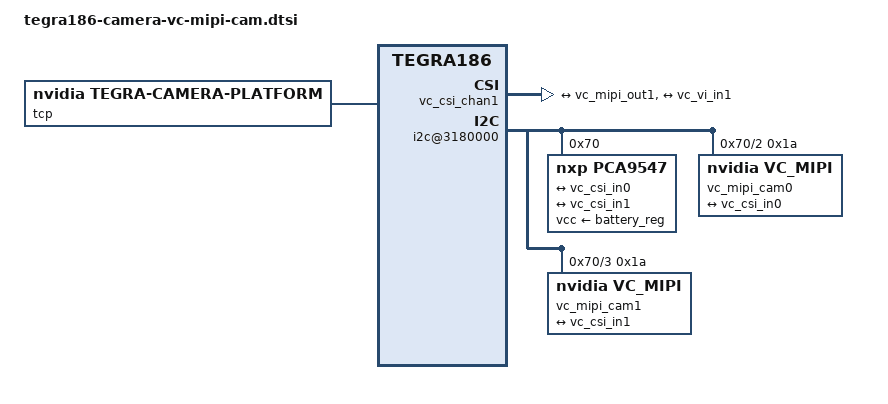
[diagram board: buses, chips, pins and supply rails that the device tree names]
/*
 * Copyright (c) 2020-2021, Vision Components GmbH.  All rights reserved.
 *
 * This program is free software; you can redistribute it and/or modify
 * it under the terms of the GNU General Public License as published by
 * the Free Software Foundation; either version 2 of the License, or
 * (at your option) any later version.
 *
 * This program is distributed in the hope that it will be useful, but WITHOUT
 * ANY WARRANTY; without even the implied warranty of MERCHANTABILITY or
 * FITNESS FOR A PARTICULAR PURPOSE.  See the GNU General Public License for
 * more details.
 *
 * You should have received a copy of the GNU General Public License
 * along with this program.  If not, see <http://www.gnu.org/licenses/>.
 */

#include "dt-bindings/clock/tegra186-clock.h"
#define CAMERA_I2C_MUX_BUS(x) (0x1E + x)

// ------------------------------------------------------------------------------------------------
//  Driver Configuration for NVIDIA Jetson TX2NX  on Capable Robots Baseboard 
// ------------------------------------------------------------------------------------------------
#define VC_MIPI_CAM_2       1   // 1: Enabled, 0: Disabled  (serial_c => CSI Port 2 => VI Stream 2)
#define VC_MIPI_CAM_3       1   // 1: Enabled, 0: Disabled  (serial_e => CSI Port 4 => VI Stream 4)
// ------------------------------------------------------------------------------------------------
//  Supported number of lanes
// -----+------------------------------------------------------------------------------------------
//  1   | OV7251, IMX296, IMX297
//  2   | OV9281, IMX264, IMX265
//  2,4 | IMX178, IMX183, IMX226, IMX250, IMX252, IMX273, IMX290, IMX327, IMX335, IMX392, 
//      | IMX412, IMX415, IMX568
// -----+------------------------------------------------------------------------------------------
#define VC_MIPI_LANES       4   // 1, 2, 4 Lanes
// ------------------------------------------------------------------------------------------------
//  Embedded Metadata Height
// -----+------------------------------------------------------------------------------------------
//  0   | IMX178, IMX183, IMX226, IMX250, IMX252, IMX264, IMX265, IMX273, IMX392, OV7251, OV9281
//  1   | IMX290, IMX327, IMX335, IMX415, IMX568
//  2   | IMX296, IMX297, IMX412
// -----+------------------------------------------------------------------------------------------
#define VC_MIPI_METADATA_H  "2" // "0", "1", "2" Lines of meta data
// ------------------------------------------------------------------------------------------------
//   Sensor Manufacturer
// -----+------------------------------------------------------------------------------------------
//   1  | Sony Sensor (IMX)
//   2  | Omni Vision Sensor (OV)
// -----+------------------------------------------------------------------------------------------
//#define VC_MIPI_MANUFACTURER 1 removed always sony
// ------------------------------------------------------------------------------------------------
//  GStreamer Support
// ------------------------------------------------------------------------------------------------
//  If you want to use GStreamer with nvarguscamerasrc you have to adjust this settings in the 
//  device tree below. The sections which have to be modified are marked by a comment. 
//  To find the correct parameter values please follow the instruction in the main README.md of 
//  this repository https://github.com/VC-MIPI-modules/vc_mipi_nvidia#gstreamer-support
// ------------------------------------------------------------------------------------------------

#if VC_MIPI_LANES == 1
    #define BUS_WIDTH 1
    #define NUM_LANES "1" 
    #define NUM_CSI_LANES 2
#endif
#if VC_MIPI_LANES == 2
    #define BUS_WIDTH 2
    #define NUM_LANES "2" 
    #define NUM_CSI_LANES 4
#endif
#if VC_MIPI_LANES == 4
    #define BUS_WIDTH 4
    #define NUM_LANES "4" 
    #define NUM_CSI_LANES 8
#endif

#if VC_MIPI_CAM_2 == 1 && VC_MIPI_CAM_3 == 1
    #define VC_MIPI_CAMERAS 2
#else
    #define VC_MIPI_CAMERAS 1
#endif

/ {
	host1x {
		sb3d_version = "1.3";
        vc_vi_base: vi@15700000 {
			num-channels = <VC_MIPI_CAMERAS>;
            ports {
                #address-cells = <1>;
                #size-cells = <0>;
                vc_vi_port0: port@0 {
                    reg = <0>;
                    vc_vi_in0: endpoint {
						port-index = <0>;
                        bus-width = <BUS_WIDTH>;
                        remote-endpoint = <&vc_csi_out0>;
                    };
                };
                vc_vi_port1: port@1 {
                    reg = <1>;
                    vc_vi_in1: endpoint {
                        port-index = <4>;
                        bus-width = <BUS_WIDTH>;
                        remote-endpoint = <&vc_csi_out1>;
					};
				};
            };
        };

        vc_csi_base: nvcsi@150c0000 {
            num-channels = <VC_MIPI_CAMERAS>;
            #address-cells = <1>;
            #size-cells = <0>;

            vc_csi_chan0: channel@0 {
                reg = <0>;
                ports {
					status = "okay";
                    #address-cells = <1>;
                    #size-cells = <0>;
                    vc_csi_chan0_port0: port@0 {
						reg = <0>;
                        vc_csi_in0: endpoint@0 {
							port-index = <0>;
                            bus-width = <BUS_WIDTH>;
                            remote-endpoint = <&vc_mipi_out0>;
                        };
                    };

					vc_csi_chan0_port1: port@1 {
						reg = <1>;
                        vc_csi_out0: endpoint@1 {
                            remote-endpoint = <&vc_vi_in0>;
                        };
                    };
                };
            };

            vc_csi_chan1: channel@1 {
				status = "okay";
                reg = <1>;
                ports {
                    status = "okay";
                    #address-cells = <1>;
                    #size-cells = <0>;
					vc_csi_chan1_port2: port@2 {
                        status = "okay";
                        reg = <0>;
                        vc_csi_in1: endpoint@2 {
							port-index = <4>;
                            bus-width = <BUS_WIDTH>;
                            remote-endpoint = <&vc_mipi_out1>;
                        };
                    };
					vc_csi_chan1_port3: port@3 {
                        reg = <1>;
						vc_csi_out1: endpoint@1 {
                            remote-endpoint = <&vc_vi_in1>;
                        };
                    };
                };
            };
		};
	};


    i2c@3180000 {
		pca9547@70 {
			compatible = "nxp,pca9547"; // unit 1 change to pca9548
			status = "okay";
			reg = <0x70>;
			#address-cells = <1>;
			#size-cells = <0>;
			vcc-supply = <&battery_reg>;
			force_bus_start = <CAMERA_I2C_MUX_BUS(0)>;
			i2c@2{
				status = "okay";
				reg = <2>;
				i2c-mux,deselect-on-exit;
				#address-cells = <1>;
				#size-cells = <0>;

				vc_mipi_cam0: vc_mipi@1a {
                	status = "okay";
					reg                     = <0x1a>;
					compatible              = "nvidia,vc_mipi";

					devnode                 = "video0";
					use_sensor_mode_id      = "false";
					sensor_model            = "vc_mipi";

					num_lanes               = NUM_LANES;
					trigger_mode            = "0";
					io_mode                 = "0";

					// ----------------------------------------------------
					// If you want to use GStreamer with nvarguscamerasrc
					// you have to adjust this settings
					physical_w = "6.249";
					physical_h = "4.712";
					// ----------------------------------------------------

					// This node is needed by the Tegra framework.
					// You don't have to change any settings if just want to use the V4L API.
					mode0 {
						num_lanes                = NUM_LANES;
						tegra_sinterface         = "serial_a";
						embedded_metadata_height = VC_MIPI_METADATA_H;
						readout_orientation      = "0";

						// ----------------------------------------------------
						// If you want to use GStreamer with nvarguscamerasrc
						// you have to adjust this settings.
						active_l                 = "0";
						active_t                 = "0";
						active_w                 = "4032";
						active_h                 = "3040";
						pixel_t                  = "bayer_rggb";

                    	min_gain_val             = "0";         // mdB
						max_gain_val             = "48000";     // mdB
						step_gain_val            = "100";       // mdB
                    	default_gain             = "0";         // mdB

						min_exp_time             = "1";         // us
						max_exp_time             = "1000000";   // us
						step_exp_time            = "1";         // us
						default_exp_time         = "10000";     // us

                    	min_framerate            = "0";         // mHz
						max_framerate            = "60000";     // mHz
						step_framerate           = "100";       // mHz
						default_framerate        = "60000";     // mHz
						// ----------------------------------------------------

						gain_factor              = "1000";
						exposure_factor          = "1000000";
						framerate_factor         = "1000";
						inherent_gain            = "1";
						min_hdr_ratio            = "1";
						max_hdr_ratio            = "1";

						line_length              = "4184";
						phy_mode                 = "DPHY";
						discontinuous_clk        = "no";
						mclk_khz                 = "24000";
						pix_clk_hz               = "800000000";
						mclk_multiplier          = "9.33";
						cil_settletime           = "0";
						dpcm_enable              = "false";
					};

					ports {
						#address-cells = <1>;
						#size-cells = <0>;

						port@0 {
							reg = <0>;
							vc_mipi_out0: endpoint {
								port-index = <0>;
								bus-width = <BUS_WIDTH>;
								remote-endpoint = <&vc_csi_in0>;
							};
						};
					};
				};
			};
			i2c@3{
				status = "okay";
				reg = <3>;
				i2c-mux,deselect-on-exit;
				#address-cells = <1>;
				#size-cells = <0>;

				vc_mipi_cam1: vc_mipi@1a {
               		status = "okay";
					reg = <0x1a>;
					i2c-mux,deselect-on-exit;
					compatible              = "nvidia,vc_mipi";
					devnode                 = "video1";
					use_sensor_mode_id      = "false";
					sensor_model            = "vc_mipi";

					num_lanes               = NUM_LANES;
					trigger_mode            = "0";
					io_mode                 = "0";

					// ----------------------------------------------------
					// If you want to use GStreamer with nvarguscamerasrc
					// you have to adjust this settings
					physical_w = "6.249";
					physical_h = "4.712";
					// ----------------------------------------------------

					// This node is needed by the Tegra framework.
					// You don't have to change any settings if just want to use the V4L API.
					mode0 {
						num_lanes                = NUM_LANES;
						tegra_sinterface         = "serial_c";
						embedded_metadata_height = VC_MIPI_METADATA_H;
						readout_orientation      = "0";

						// ----------------------------------------------------
						// If you want to use GStreamer with nvarguscamerasrc
						// you have to adjust this settings.
						active_l                 = "0";
						active_t                 = "0";
						active_w                 = "4032";
						active_h                 = "3040";
						pixel_t                  = "bayer_rggb";

						min_gain_val             = "100";         // mdB
						max_gain_val             = "48000";     // mdB
						step_gain_val            = "100";       // mdB
						default_gain             = "100";         // mdB

						min_exp_time             = "1";         // us
						max_exp_time             = "1000000";   // us
						step_exp_time            = "1";         // us
						default_exp_time         = "10000";     // us

						min_framerate            = "100";         // mHz
						max_framerate            = "60000";     // mHz
						step_framerate           = "100";       // mHz
						default_framerate        = "60000";     // mHz
						// ----------------------------------------------------

						gain_factor              = "1000";
						exposure_factor          = "1000000";
						framerate_factor         = "1000";
						inherent_gain            = "1";
						min_hdr_ratio            = "1";
						max_hdr_ratio            = "1";

						line_length              = "0";
						phy_mode                 = "DPHY";
						discontinuous_clk        = "no";
						mclk_khz                 = "24000";
						pix_clk_hz               = "800000000";
						mclk_multiplier          = "9.33";
						cil_settletime           = "0";
						dpcm_enable              = "false";
					};

					ports {

						#address-cells = <1>;
						#size-cells = <0>;
						port@0 {
							status = "okay";
							reg = <0>;

							vc_mipi_out1: endpoint {
								port-index = <0>;
								bus-width = <BUS_WIDTH>;
								remote-endpoint = <&vc_csi_in1>;
							};
						};
					};
				};
			};
		};
	};
};

/ {
    tcp: tegra-camera-platform {
        compatible = "nvidia, tegra-camera-platform";

        num_csi_lanes = <NUM_CSI_LANES>;
        max_lane_speed = <1500000>;
        min_bits_per_pixel = <10>;
        vi_peak_byte_per_pixel = <2>;
        vi_bw_margin_pct = <25>;
        max_pixel_rate = <240000>;
        isp_peak_byte_per_pixel = <5>;
        isp_bw_margin_pct = <25>;

        modules {
            cam_module0: module0 {
                status = "okay";
				badge = "lenai_front_vc_mipi";
                position = "front";
                orientation = "0";
                cam_module0_drivernode0: drivernode0 {
                    status = "okay";
                    pcl_id = "v4l2_sensor";
					devname = "vc_mipi 32-001a";
					proc-device-tree = "/proc/device-tree/i2c@3180000/pca9547@70/i2c@2/vc_mipi@1a";

                };
            };
            cam_module1: module1 {
				status = "okay";
				badge = "lanai_rear_vc_mipi";
                position = "rear";
                orientation = "1";
                cam_module1_drivernode0: drivernode0 {
                    status = "okay";
                    pcl_id = "v4l2_sensor";
					devname = "vc_mipi 33-001a";
					proc-device-tree = "/proc/device-tree/i2c@3180000/pca9547@70/i2c@3/vc_mipi@1a";

                };
            };
        };
    };
};


